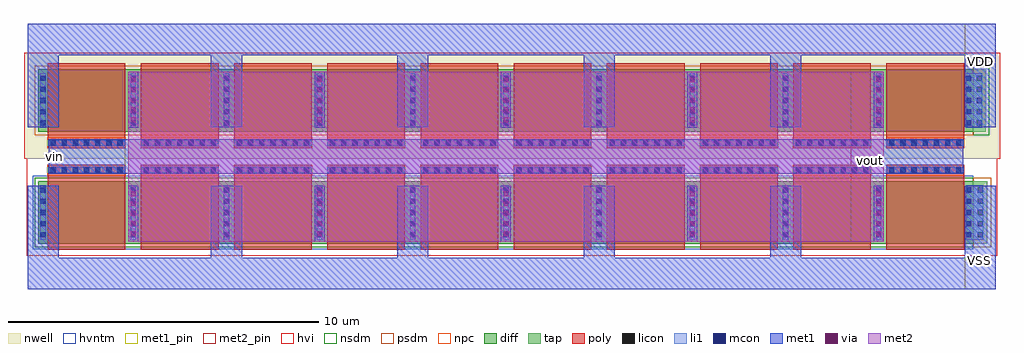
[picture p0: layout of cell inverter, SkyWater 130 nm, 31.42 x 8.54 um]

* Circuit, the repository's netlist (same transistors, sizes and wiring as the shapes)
* Extracted by KLayout with SKY130 LVS runset on : 19/11/2026 23:28

.SUBCKT inverter VDD VSS vin vout
M$1 VDD vin vout VDD sky130_fd_pr__pfet_g5v0d10v5 L=2.5 W=20 AS=5.1 AD=5.1
+ PS=27.1 PD=27.1
M$11 VSS vin vout VSS sky130_fd_pr__nfet_g5v0d10v5 L=2.5 W=20 AS=5.1 AD=5.1
+ PS=27.1 PD=27.1
.ENDS inverter

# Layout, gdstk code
import gdstk
lib = gdstk.Library(unit=1e-6, precision=1e-09)
def R(c, l, rs):  # rectangles x0, y0, x1, y1
    for r in rs: c.add(gdstk.rectangle(r[:2], r[2:], *l))
def A(c, l, x, y, w, h, nx, ny, dx, dy):  # array of equal rectangles
    R(c, l, [(x+i*dx, y+j*dy, x+i*dx+w, y+j*dy+h) for i in range(nx) for j in range(ny)])
nwell = (64, 20)
diff = (65, 20)
tap = (65, 44)
poly = (66, 20)
licon = (66, 44)
li1 = (67, 20)
mcon = (67, 44)
met1_pin = (68, 16)
met1 = (68, 20)
via = (68, 44)
met2_pin = (69, 16)
met2 = (69, 20)
hvi = (75, 20)
nsdm = (93, 44)
psdm = (94, 20)
npc = (95, 20)
hvntm = (125, 20)

nfet = lib.new_cell('nfet')
R(nfet, diff, [(0,0,30.1,2)])
R(nfet, tap, [(30.1,0,30.55,2)])
A(nfet, poly, 0.3, -0.2, 2.5, 2.4, 10, 1, 3, 0)
A(nfet, poly, 0.3, 2.2, 2.5, 0.33, 10, 1, 3, 0)
A(nfet, licon, 0.065, 0.195, 0.17, 0.17, 1, 5, 0, 0.36)
A(nfet, licon, 2.965, 0.195, 0.17, 0.17, 9, 5, 3, 0.36)
A(nfet, licon, 29.865, 0.195, 0.17, 0.17, 1, 5, 0, 0.36)
A(nfet, licon, 30.24, 0.195, 0.17, 0.17, 1, 5, 0, 0.36)
A(nfet, licon, 0.385, 2.28, 0.17, 0.17, 7, 1, 0.36, 0)
A(nfet, licon, 3.385, 2.28, 0.17, 0.17, 7, 1, 0.36, 0)
A(nfet, licon, 6.385, 2.28, 0.17, 0.17, 7, 1, 0.36, 0)
A(nfet, licon, 9.385, 2.28, 0.17, 0.17, 7, 1, 0.36, 0)
A(nfet, licon, 12.385, 2.28, 0.17, 0.17, 7, 1, 0.36, 0)
A(nfet, licon, 15.385, 2.28, 0.17, 0.17, 7, 1, 0.36, 0)
A(nfet, licon, 18.385, 2.28, 0.17, 0.17, 7, 1, 0.36, 0)
A(nfet, licon, 21.385, 2.28, 0.17, 0.17, 7, 1, 0.36, 0)
A(nfet, licon, 24.385, 2.28, 0.17, 0.17, 7, 1, 0.36, 0)
A(nfet, licon, 27.385, 2.28, 0.17, 0.17, 7, 1, 0.36, 0)
A(nfet, li1, 2.965, 0.115, 0.17, 1.77, 9, 1, 3, 0)
A(nfet, li1, 0.305, 2.28, 2.49, 0.17, 10, 1, 3, 0)
R(nfet, li1, [(0.065,0.115,0.235,1.885), (29.865,0.115,30.035,1.885), (30.24,0.115,30.41,1.885)])
A(nfet, mcon, 0.065, 0.195, 0.17, 0.17, 1, 5, 0, 0.36)
A(nfet, mcon, 2.965, 0.195, 0.17, 0.17, 9, 5, 3, 0.36)
A(nfet, mcon, 29.865, 0.195, 0.17, 0.17, 1, 5, 0, 0.36)
A(nfet, mcon, 0.385, 2.28, 0.17, 0.17, 7, 1, 0.36, 0)
A(nfet, mcon, 3.385, 2.28, 0.17, 0.17, 7, 1, 0.36, 0)
A(nfet, mcon, 6.385, 2.28, 0.17, 0.17, 7, 1, 0.36, 0)
A(nfet, mcon, 9.385, 2.28, 0.17, 0.17, 7, 1, 0.36, 0)
A(nfet, mcon, 12.385, 2.28, 0.17, 0.17, 7, 1, 0.36, 0)
A(nfet, mcon, 15.385, 2.28, 0.17, 0.17, 7, 1, 0.36, 0)
A(nfet, mcon, 18.385, 2.28, 0.17, 0.17, 7, 1, 0.36, 0)
A(nfet, mcon, 21.385, 2.28, 0.17, 0.17, 7, 1, 0.36, 0)
A(nfet, mcon, 24.385, 2.28, 0.17, 0.17, 7, 1, 0.36, 0)
A(nfet, mcon, 27.385, 2.28, 0.17, 0.17, 7, 1, 0.36, 0)
A(nfet, met1, 2.935, 0.135, 0.23, 1.73, 9, 1, 3, 0)
A(nfet, met1, 0.325, 2.25, 2.45, 0.23, 10, 1, 3, 0)
R(nfet, met1, [(0.035,0.135,0.265,1.865), (29.835,0.135,30.065,1.865)])
R(nfet, hvi, [(-0.37,-0.385,30.86,2.725)])
R(nfet, nsdm, [(-0.125,-0.125,30.1,2.125)])
R(nfet, psdm, [(30.1,-0.125,30.675,2.125)])
A(nfet, npc, 0.29, 2.19, 2.52, 0.35, 10, 1, 3, 0)
R(nfet, hvntm, [(-0.185,-0.185,30.1,2.185)])

pfet = lib.new_cell('pfet')
R(pfet, nwell, [(-0.465,-0.54,30.955,2.88)])
R(pfet, diff, [(0,0,30.1,2)])
R(pfet, tap, [(30.1,0,30.49,2)])
A(pfet, poly, 0.3, -0.2, 2.5, 2.4, 10, 1, 3, 0)
A(pfet, poly, 0.3, 2.2, 2.5, 0.33, 10, 1, 3, 0)
A(pfet, licon, 0.065, 0.195, 0.17, 0.17, 1, 5, 0, 0.36)
A(pfet, licon, 2.965, 0.195, 0.17, 0.17, 9, 5, 3, 0.36)
A(pfet, licon, 29.865, 0.195, 0.17, 0.17, 1, 5, 0, 0.36)
A(pfet, licon, 30.21, 0.195, 0.17, 0.17, 1, 5, 0, 0.36)
A(pfet, licon, 0.385, 2.28, 0.17, 0.17, 7, 1, 0.36, 0)
A(pfet, licon, 3.385, 2.28, 0.17, 0.17, 7, 1, 0.36, 0)
A(pfet, licon, 6.385, 2.28, 0.17, 0.17, 7, 1, 0.36, 0)
A(pfet, licon, 9.385, 2.28, 0.17, 0.17, 7, 1, 0.36, 0)
A(pfet, licon, 12.385, 2.28, 0.17, 0.17, 7, 1, 0.36, 0)
A(pfet, licon, 15.385, 2.28, 0.17, 0.17, 7, 1, 0.36, 0)
A(pfet, licon, 18.385, 2.28, 0.17, 0.17, 7, 1, 0.36, 0)
A(pfet, licon, 21.385, 2.28, 0.17, 0.17, 7, 1, 0.36, 0)
A(pfet, licon, 24.385, 2.28, 0.17, 0.17, 7, 1, 0.36, 0)
A(pfet, licon, 27.385, 2.28, 0.17, 0.17, 7, 1, 0.36, 0)
A(pfet, li1, 2.965, 0.115, 0.17, 1.77, 9, 1, 3, 0)
A(pfet, li1, 0.305, 2.28, 2.49, 0.17, 10, 1, 3, 0)
R(pfet, li1, [(0.065,0.115,0.235,1.885), (29.865,0.115,30.035,1.885), (30.21,0.115,30.38,1.885)])
A(pfet, mcon, 0.065, 0.195, 0.17, 0.17, 1, 5, 0, 0.36)
A(pfet, mcon, 2.965, 0.195, 0.17, 0.17, 9, 5, 3, 0.36)
A(pfet, mcon, 29.865, 0.195, 0.17, 0.17, 1, 5, 0, 0.36)
A(pfet, mcon, 0.385, 2.28, 0.17, 0.17, 7, 1, 0.36, 0)
A(pfet, mcon, 3.385, 2.28, 0.17, 0.17, 7, 1, 0.36, 0)
A(pfet, mcon, 6.385, 2.28, 0.17, 0.17, 7, 1, 0.36, 0)
A(pfet, mcon, 9.385, 2.28, 0.17, 0.17, 7, 1, 0.36, 0)
A(pfet, mcon, 12.385, 2.28, 0.17, 0.17, 7, 1, 0.36, 0)
A(pfet, mcon, 15.385, 2.28, 0.17, 0.17, 7, 1, 0.36, 0)
A(pfet, mcon, 18.385, 2.28, 0.17, 0.17, 7, 1, 0.36, 0)
A(pfet, mcon, 21.385, 2.28, 0.17, 0.17, 7, 1, 0.36, 0)
A(pfet, mcon, 24.385, 2.28, 0.17, 0.17, 7, 1, 0.36, 0)
A(pfet, mcon, 27.385, 2.28, 0.17, 0.17, 7, 1, 0.36, 0)
A(pfet, met1, 2.935, 0.135, 0.23, 1.73, 9, 1, 3, 0)
A(pfet, met1, 0.325, 2.25, 2.45, 0.23, 10, 1, 3, 0)
R(pfet, met1, [(0.035,0.135,0.265,1.865), (29.835,0.135,30.065,1.865)])
R(pfet, hvi, [(-0.465,-0.54,30.955,2.88)])
R(pfet, nsdm, [(30.1,-0.125,30.615,2.125)])
R(pfet, psdm, [(-0.125,-0.125,30.1,2.125)])
A(pfet, npc, 0.29, 2.19, 2.52, 0.35, 10, 1, 3, 0)

vias_gen = lib.new_cell('vias_gen')
R(vias_gen, met1, [(0,0,0.32,1.8)])
A(vias_gen, via, 0.085, 0.185, 0.15, 0.15, 1, 5, 0, 0.32)
R(vias_gen, met2, [(0,0,0.32,1.8)])

inverter = lib.new_cell('inverter')
R(inverter, li1, [(29.865,0.115,30.41,1.885), (29.865,3.72,30.38,5.49)])
R(inverter, met1_pin, [(29.82,-1.465,30.82,1.865), (0.325,2.25,2.795,3.355), (29.82,3.74,30.82,7.07)])
R(inverter, met1, [(0.325,2.25,29.775,3.355)])
R(inverter, met2_pin, [(26.155,0.065,27.21,5.525)])
R(inverter, met2, [(2.89,0.065,27.21,5.525)])
inverter.add(gdstk.FlexPath([(30.32,1.865),(30.32,-0.965),(0.155,-0.965),(0.155,1.865)], 1, ends="flush", simple_path=True, layer=68, datatype=20))  # met1
inverter.add(gdstk.FlexPath([(6.055,1.865),(6.055,-0.965)], 1, ends="flush", simple_path=True, layer=68, datatype=20))  # met1
inverter.add(gdstk.FlexPath([(12.055,1.865),(12.055,-0.965)], 1, ends="flush", simple_path=True, layer=68, datatype=20))  # met1
inverter.add(gdstk.FlexPath([(18.05,1.865),(18.05,-0.965)], 1, ends="flush", simple_path=True, layer=68, datatype=20))  # met1
inverter.add(gdstk.FlexPath([(24.06,1.865),(24.06,-0.965)], 1, ends="flush", simple_path=True, layer=68, datatype=20))  # met1
inverter.add(gdstk.FlexPath([(30.32,3.74),(30.32,6.57),(0.155,6.57),(0.155,3.74)], 1, ends="flush", simple_path=True, layer=68, datatype=20))  # met1
inverter.add(gdstk.FlexPath([(6.055,3.74),(6.055,6.57)], 1, ends="flush", simple_path=True, layer=68, datatype=20))  # met1
inverter.add(gdstk.FlexPath([(12.055,3.74),(12.055,6.57)], 1, ends="flush", simple_path=True, layer=68, datatype=20))  # met1
inverter.add(gdstk.FlexPath([(18.05,3.74),(18.05,6.57)], 1, ends="flush", simple_path=True, layer=68, datatype=20))  # met1
inverter.add(gdstk.FlexPath([(24.06,3.74),(24.06,6.57)], 1, ends="flush", simple_path=True, layer=68, datatype=20))  # met1
r = gdstk.Reference(nfet, (0,0)); r.repetition = gdstk.Repetition(1, 1, v1=(0,0), v2=(0,0)); inverter.add(r)
r = gdstk.Reference(pfet, (0,5.605), x_reflection=True); r.repetition = gdstk.Repetition(1, 1, v1=(0,0), v2=(0,0)); inverter.add(r)
r = gdstk.Reference(vias_gen, (2.89,3.725)); r.repetition = gdstk.Repetition(1, 1, v1=(0,0), v2=(0,0)); inverter.add(r)
r = gdstk.Reference(vias_gen, (8.89,3.725)); r.repetition = gdstk.Repetition(1, 1, v1=(0,0), v2=(0,0)); inverter.add(r)
r = gdstk.Reference(vias_gen, (14.89,3.725)); r.repetition = gdstk.Repetition(1, 1, v1=(0,0), v2=(0,0)); inverter.add(r)
r = gdstk.Reference(vias_gen, (20.89,3.725)); r.repetition = gdstk.Repetition(1, 1, v1=(0,0), v2=(0,0)); inverter.add(r)
r = gdstk.Reference(vias_gen, (26.89,3.725)); r.repetition = gdstk.Repetition(1, 1, v1=(0,0), v2=(0,0)); inverter.add(r)
r = gdstk.Reference(vias_gen, (2.89,0.065)); r.repetition = gdstk.Repetition(1, 1, v1=(0,0), v2=(0,0)); inverter.add(r)
r = gdstk.Reference(vias_gen, (8.89,0.065)); r.repetition = gdstk.Repetition(1, 1, v1=(0,0), v2=(0,0)); inverter.add(r)
r = gdstk.Reference(vias_gen, (14.89,0.065)); r.repetition = gdstk.Repetition(1, 1, v1=(0,0), v2=(0,0)); inverter.add(r)
r = gdstk.Reference(vias_gen, (20.89,0.065)); r.repetition = gdstk.Repetition(1, 1, v1=(0,0), v2=(0,0)); inverter.add(r)
r = gdstk.Reference(vias_gen, (26.89,0.065)); r.repetition = gdstk.Repetition(1, 1, v1=(0,0), v2=(0,0)); inverter.add(r)
inverter.add(gdstk.Label('vin', (0.505,2.815), layer=68, texttype=5))
inverter.add(gdstk.Label('VSS', (30.305,-0.56), layer=68, texttype=5))
inverter.add(gdstk.Label('VDD', (30.34,5.865), layer=68, texttype=5))
inverter.add(gdstk.Label('vout', (26.77,2.68), layer=69, texttype=5))

lib.write_gds('inverter.gds')
